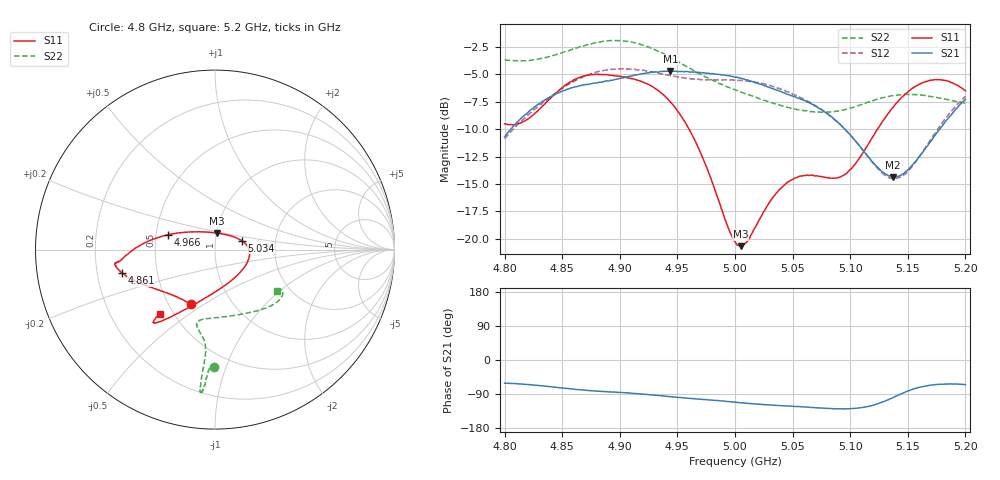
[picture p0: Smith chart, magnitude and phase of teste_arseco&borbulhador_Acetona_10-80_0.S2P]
! Network Analyzer HP8722D
! Hewlett-Packard
! Data name: Linha & Wilkinson
! Saver's name: Rodrigo Anjos
! Comments: Teste da utilização de aquisição
! continua pelo VNA HP8722D
! Time and date: 17/4/2025 14:21
!  Frequency  S11  S21  S12  S22
# HZ  S  MA R 50
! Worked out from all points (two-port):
!   401 points, 4.8 GHz to 5.2 GHz, reference 50 ohm
!   highest |S21| = -4.70 dB at 4.944 GHz (marker M1); lowest = -14.4 dB at 5.137 GHz (marker M2)
!   |S21| within 3 dB of the highest: 4.83 GHz to 5.066 GHz (236.7 MHz wide, 4.78 % of centre); 5.195829 GHz to end of sweep
!   lowest |S11| = -20.7 dB at 5.005 GHz (marker M3), VSWR 1.20, Z = 50.4 + j9.32 ohm
!   |S11| at or under -10 dB: 4.96 GHz to 5.124 GHz (163.5 MHz wide, 3.24 % of centre)
!   |S22| runs from -8.5 to -1.9 dB; largest |S21 - S12| = 0.87
!   S11 on the Smith chart (normalised r, x): 4.8 GHz: 0.64, -0.44; 4.861 GHz: 0.31, -0.11; 4.966 GHz: 0.58, +0.10; 5.034 GHz: 1.34, +0.14; 5.2 GHz: 0.42, -0.39
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4.8e9  0.3347 -114.0  0.2923 -61.0  0.286 -175.2  0.655 -90.3
4.819e9  0.3488 -133.9  0.3725 -64.5  0.362 -174.0  0.6507 -91.9
4.861e9  0.5339 -165.7  0.4922 -77.6  0.5254 -177.2  0.7368 -94.2
4.867e9  0.5486 -168.1  0.5022 -79.1  0.545 -178.2  0.7555 -94.3
4.899e9  0.5515 -172.6  0.5364 -85.7  0.5951 175.1  0.8007 -95.6
4.934e9  0.472 -178.5  0.5771 -94.0  0.5695 171.5  0.7146 -96.0
4.944e9  0.4209 177.0  0.5821 -96.8  0.5553 171.5  0.6721 -95.8
4.966e9  0.2754 162.6  0.5744 -102.5  0.5334 173.4  0.5771 -95.2
5e9  0.09728 100.1  0.546 -111.5  0.5291 175.9  0.4777 -99.3
5.005e9  0.09254 82.0  0.5399 -112.8  0.5279 175.7  0.4666 -100.4
5.012e9  0.09992 58.3  0.5266 -114.6  0.5225 175.5  0.4534 -101.9
5.034e9  0.1569 18.7  0.4801 -119.6  0.4932 174.5  0.414 -103.5
5.05e9  0.1865 2.5  0.448 -122.1  0.4573 173.7  0.3931 -99.4
5.067e9  0.1951 -15.6  0.411 -125.1  0.4141 173.4  0.3802 -90.3
5.096e9  0.1977 -66.2  0.3137 -128.8  0.314 174.5  0.3893 -67.8
5.123e9  0.312 -108.3  0.2138 -116.3  0.2119 -171.0  0.4323 -48.6
5.134e9  0.3786 -117.3  0.1934 -103.5  0.1897 -156.4  0.447 -43.0
5.137e9  0.3961 -119.0  0.1915 -99.4  0.1887 -151.6  0.4498 -41.7
5.15e9  0.4673 -124.8  0.2061 -82.2  0.203 -131.7  0.4557 -36.9
5.168e9  0.5259 -129.1  0.2699 -67.5  0.2736 -113.6  0.4465 -32.5
5.184e9  0.5252 -130.6  0.3496 -63.3  0.3615 -107.6  0.4323 -31.3
5.2e9  0.4725 -130.8  0.4332 -64.9  0.446 -106.9  0.4152 -33.6
